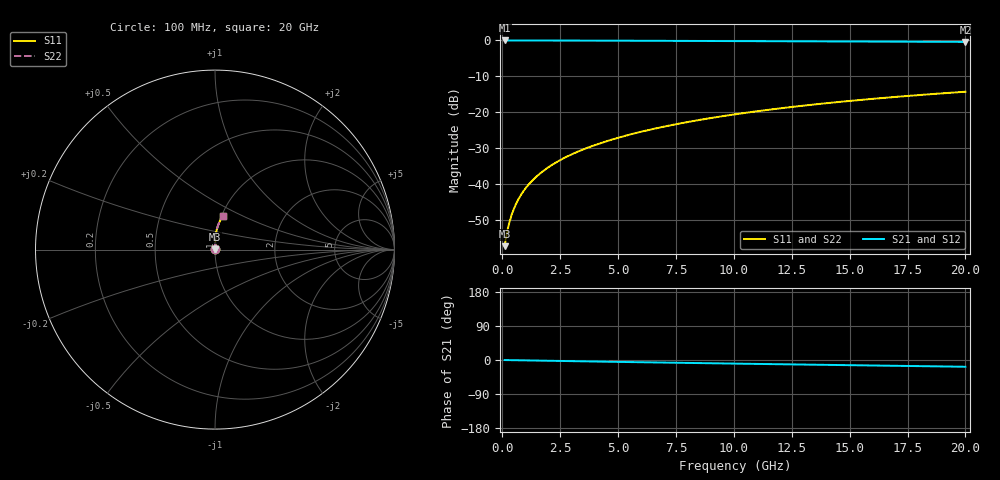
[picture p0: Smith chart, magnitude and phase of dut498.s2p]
! Touchstone file exported from HFSS 2024.1.0
!  File:  C:/UserFiles/LocalFiles/RDL_TSV_Batchsim/temp_RDL_bottom_498_1779687154.aedt
!  Generated:  01:35:02 PM May 25, 2026
!  Design:  RDL_bottom
!  Project:  temp_RDL_bottom_498_1779687154
!  Setup:  Setup1
!  Solution:  Sweep
! Variables:
!  dtsv = 10.80580581um
!  hbump = 3um
!  htsv = 80.74um
!  ldown = 223.15um
!  lrdl = 100um
!  p = 40
!  p1 = 51.01um
!  rhole = 1um
!  t = 450um
!  tdown = 4.41um
!  trdl = 3.915915916um
!  wdown = 22um
!  wrdl = 20um
# GHz S MA R 50.000000
! Terminal data exported
! Port[1] = RDL1_T1
! Port[2] = RDL1_T2
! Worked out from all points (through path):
!   200 points, 100 MHz to 20 GHz, reference 50 ohm
!   highest |S21| = -0.01 dB at 100 MHz (marker M1); lowest = -0.4 dB at 20 GHz (marker M2)
!   group delay of S21, straight-line fit = 2.45 ps
!   lowest |S11| = -57.4 dB at 100 MHz (marker M3), VSWR 1.00, Z = 50.1 + j0.0922 ohm
!   |S11| at or under -10 dB: start of sweep to end of sweep
!   |S22| runs from -57.4 to -14.3 dB; largest |S21 - S12| = 2.7e-15
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0.1  0.00135 43.0  0.999 -0.1  0.999 -0.1  0.00135 43.0
! Gamma 0 0 0 0
! Port Impedance 50 0 50 0
0.2  0.002078 60.0  0.9989 -0.2  0.9989 -0.2  0.002078 60.0
0.3  0.00286 67.8  0.9989 -0.3  0.9989 -0.3  0.00286 67.8
0.4  0.003659 72.4  0.9988 -0.4  0.9988 -0.4  0.003659 72.4
0.5  0.004468 75.5  0.9988 -0.5  0.9988 -0.5  0.004468 75.5
0.6  0.005286 77.6  0.9987 -0.6  0.9987 -0.6  0.005286 77.6
0.8  0.00694 80.6  0.9986 -0.8  0.9986 -0.8  0.00694 80.6
1.1  0.009451 83.1  0.9984 -1.1  0.9984 -1.1  0.009451 83.1
1.5  0.01283 85.1  0.998 -1.5  0.998 -1.5  0.01283 85.1
1.8  0.01539 86.0  0.9977 -1.9  0.9977 -1.9  0.01539 86.0
2.1  0.01796 86.7  0.9973 -2.2  0.9973 -2.2  0.01796 86.7
2.7  0.02316 87.6  0.9964 -2.8  0.9964 -2.8  0.02316 87.6
3.5  0.03021 88.3  0.995 -3.6  0.995 -3.6  0.03021 88.3
4.2  0.03651 88.6  0.9935 -4.2  0.9935 -4.2  0.03651 88.6
5  0.04385 88.7  0.9917 -5.0  0.9917 -5.0  0.04385 88.7
5.9  0.05231 88.7  0.9895 -5.8  0.9895 -5.8  0.05231 88.7
6.8  0.06095 88.4  0.9872 -6.7  0.9872 -6.7  0.06095 88.4
8.4  0.07667 87.6  0.9831 -8.1  0.9831 -8.1  0.07667 87.6
10.1  0.09371 86.5  0.9788 -9.6  0.9788 -9.6  0.09371 86.5
13.4  0.1271 83.6  0.9704 -12.4  0.9704 -12.4  0.1271 83.6
16.7  0.1602 80.5  0.9621 -15.1  0.9621 -15.1  0.1602 80.5
20  0.1925 77.4  0.9536 -17.8  0.9536 -17.8  0.1925 77.4
